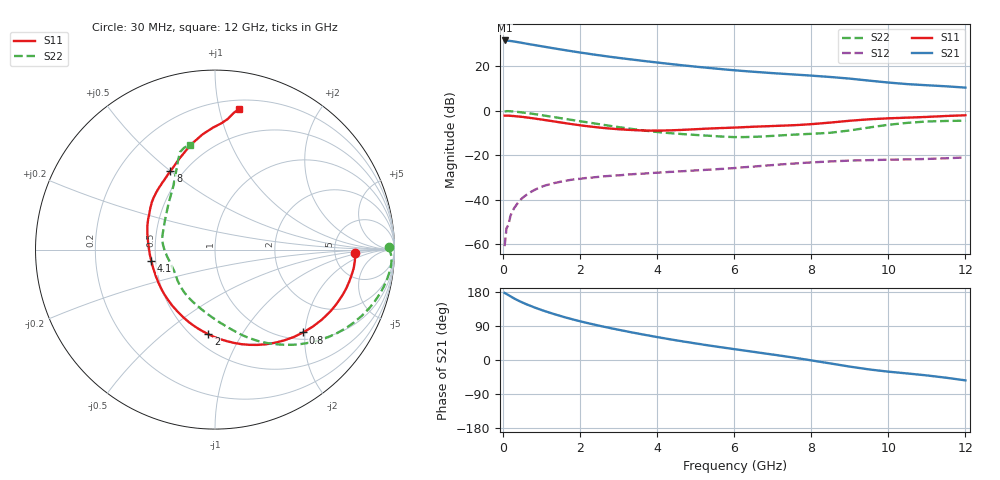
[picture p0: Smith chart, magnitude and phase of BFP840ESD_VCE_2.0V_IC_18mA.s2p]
! Infineon Technologies  Discrete & RF Semiconductors
! BFP840ESD
! VCE =  2.0 V,  IC =  18 mA
! Common Emitter S-Parameters:  May 2012
# GHz  S  MA  R  50
!  f  S11  S21  S12  S22
! GHz  MAG  ANG  MAG  ANG  MAG  ANG  MAG  ANG
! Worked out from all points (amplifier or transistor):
!   93 points, 30 MHz to 12 GHz, reference 50 ohm
!   highest |S21| = 31.7 dB at 30 MHz (marker M1)
!   |S21| within 3 dB of that: start of sweep to 1.122 GHz
!   unconditionally stable (mu >= 1): 5.009 GHz to 8.34 GHz
!   at 1.1 GHz: K = 0.39, MSG = 31.1 dB, |S12| = -33.5 dB
!   at 4.2 GHz: K = 0.93, MSG = 24.5 dB, |S12| = -27.6 dB
!   at 12 GHz: K = 0.73, MSG = 15.7 dB, |S12| = -21.0 dB
!   S11 on the Smith chart (normalised r, x): 30 MHz: 8.07, -0.85; 800 MHz: 1.16, -1.96; 2 GHz: 0.60, -0.73; 4.1 GHz: 0.47, -0.07; 8 GHz: 0.43, +0.50; 12 GHz: 0.27, +1.15
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0.03  0.7817 -1.5  38.49 177.0  0.0009 67.9  0.9675 0.7
0.18  0.7742 -10.5  37.44 168.2  0.0043 76.4  0.9795 -7.6
0.28  0.7631 -16.2  36.42 162.3  0.0065 77.7  0.964 -12.1
0.38  0.7482 -21.7  35.17 157.1  0.0086 76.2  0.9446 -16.2
0.6  0.7121 -33.2  32.56 146.9  0.0129 69.6  0.8957 -24.5
0.8  0.6742 -43.2  30.42 138.9  0.0165 65.0  0.8481 -31.3
1  0.6364 -52.6  28.39 131.6  0.0197 60.1  0.799 -37.5
1.3  0.5811 -66.0  25.66 121.7  0.0235 54.4  0.727 -45.9
1.6  0.5297 -78.7  23.29 112.6  0.0265 49.6  0.6608 -53.4
2  0.4728 -94.5  20.54 102.0  0.0296 45.0  0.5834 -62.3
2.1  0.4608 -98.3  19.94 99.5  0.0305 43.7  0.566 -64.4
2.5  0.4209 -113.2  17.78 90.2  0.0328 40.1  0.5005 -72.3
3  0.3857 -131.3  15.56 79.6  0.0354 37.5  0.4303 -82.0
3.5  0.3658 -149.0  13.77 69.7  0.0383 35.2  0.3754 -92.9
4.1  0.36 -169.6  11.98 58.6  0.0412 32.6  0.3279 -107.6
5  0.3869 166.8  9.89 43.6  0.0457 29.9  0.2869 -129.3
6.1  0.4242 148.6  8.075 27.2  0.0524 27.7  0.2571 -154.3
8  0.5026 119.6  6.216 -1.1  0.0692 16.9  0.3042 163.7
8.5  0.5464 111.0  5.784 -9.2  0.0728 13.0  0.3219 150.2
9.5  0.647 96.0  4.796 -24.9  0.0778 4.5  0.4224 123.4
10.5  0.7048 87.1  4 -35.6  0.0809 -2.0  0.538 112.5
12  0.7967 80.2  3.34 -53.7  0.0895 -9.4  0.6019 103.5
